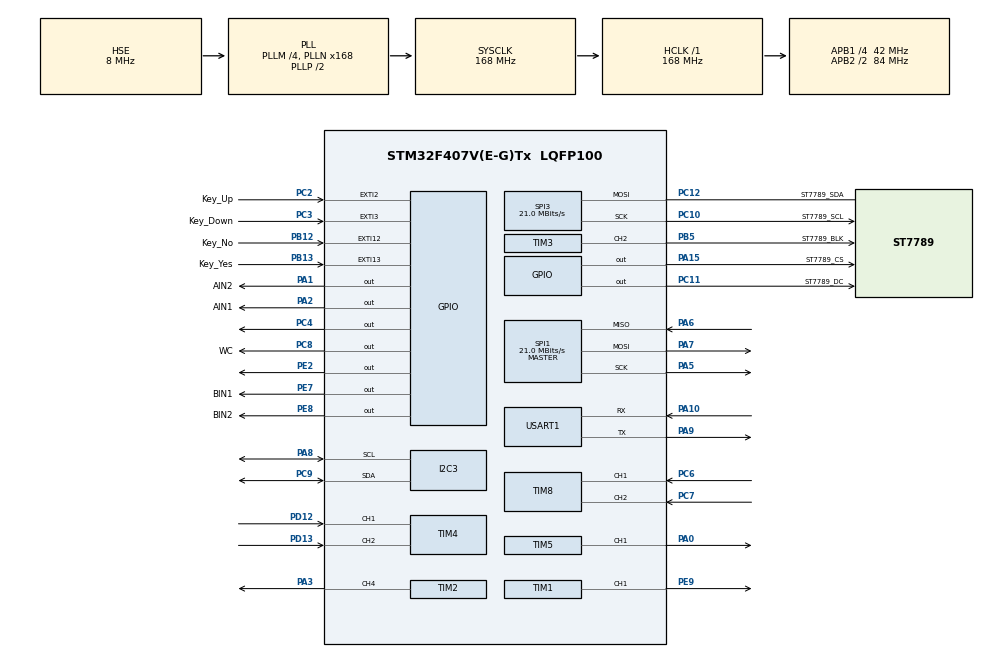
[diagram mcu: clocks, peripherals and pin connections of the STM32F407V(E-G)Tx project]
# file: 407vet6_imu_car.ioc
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Dma.Request0=TIM2_CH2/CH4
Dma.Request1=USART1_TX
Dma.TIM2_CH2/CH4.0.Direction=DMA_MEMORY_TO_PERIPH
Dma.TIM2_CH2/CH4.0.FIFOMode=DMA_FIFOMODE_DISABLE
Dma.TIM2_CH2/CH4.0.Instance=DMA1_Stream6
Dma.TIM2_CH2/CH4.0.MemDataAlignment=DMA_MDATAALIGN_WORD
Dma.TIM2_CH2/CH4.0.MemInc=DMA_MINC_ENABLE
Dma.TIM2_CH2/CH4.0.Mode=DMA_CIRCULAR
Dma.TIM2_CH2/CH4.0.PeriphDataAlignment=DMA_PDATAALIGN_WORD
Dma.TIM2_CH2/CH4.0.PeriphInc=DMA_PINC_DISABLE
Dma.TIM2_CH2/CH4.0.Priority=DMA_PRIORITY_LOW
Dma.USART1_TX.1.Direction=DMA_MEMORY_TO_PERIPH
Dma.USART1_TX.1.FIFOMode=DMA_FIFOMODE_DISABLE
Dma.USART1_TX.1.Instance=DMA2_Stream7
Dma.USART1_TX.1.MemDataAlignment=DMA_MDATAALIGN_BYTE
Dma.USART1_TX.1.MemInc=DMA_MINC_ENABLE
Dma.USART1_TX.1.Mode=DMA_CIRCULAR
Dma.USART1_TX.1.PeriphDataAlignment=DMA_PDATAALIGN_BYTE
Dma.USART1_TX.1.PeriphInc=DMA_PINC_DISABLE
Dma.USART1_TX.1.Priority=DMA_PRIORITY_LOW
Mcu.Family=STM32F4
Mcu.Name=STM32F407V(E-G)Tx
Mcu.Package=LQFP100
NVIC.DMA1_Stream6_IRQn=true\:1\:0\:true\:false\:true\:false\:true\:true
NVIC.DMA2_Stream7_IRQn=true\:0\:0\:false\:false\:true\:false\:true\:true
NVIC.EXTI15_10_IRQn=true\:1\:0\:true\:false\:true\:true\:true\:true
NVIC.EXTI2_IRQn=true\:1\:0\:true\:false\:true\:true\:true\:true
NVIC.EXTI3_IRQn=true\:1\:0\:true\:false\:true\:true\:true\:true
NVIC.PriorityGroup=NVIC_PRIORITYGROUP_4
NVIC.TIM1_BRK_TIM9_IRQn=true\:1\:0\:true\:false\:true\:true\:true\:true
NVIC.TIM1_TRG_COM_TIM11_IRQn=true\:0\:0\:true\:false\:true\:true\:true\:true
NVIC.TIM1_UP_TIM10_IRQn=true\:1\:0\:true\:false\:true\:true\:true\:true
NVIC.TIM2_IRQn=true\:1\:0\:true\:false\:true\:true\:true\:true
NVIC.TIM3_IRQn=true\:1\:0\:true\:false\:true\:true\:true\:true
NVIC.TIM6_DAC_IRQn=true\:0\:0\:false\:false\:true\:true\:true\:true
PA0-WKUP.Signal=S_TIM5_CH1
PA1.GPIO_Label=AIN2
PA1.Signal=GPIO_Output
PA10.Mode=Asynchronous
PA10.Signal=USART1_RX
PA13.Mode=Serial_Wire
PA13.Signal=SYS_JTMS-SWDIO
PA14.Mode=Serial_Wire
PA14.Signal=SYS_JTCK-SWCLK
PA15.GPIO_Label=ST7789_CS
PA15.Signal=GPIO_Output
PA2.GPIO_Label=AIN1
PA2.Signal=GPIO_Output
PA3.Signal=S_TIM2_CH4
PA5.Mode=Full_Duplex_Master
PA5.Signal=SPI1_SCK
PA6.Mode=Full_Duplex_Master
PA6.Signal=SPI1_MISO
PA7.Mode=Full_Duplex_Master
PA7.Signal=SPI1_MOSI
PA8.GPIO_Pu=GPIO_PULLUP
PA8.Mode=I2C
PA8.Signal=I2C3_SCL
PA9.Mode=Asynchronous
PA9.Signal=USART1_TX
PB12.GPIO_Label=Key_No
PB12.GPIO_ModeDefaultEXTI=GPIO_MODE_IT_FALLING
PB12.GPIO_PuPd=GPIO_PULLUP
PB12.Signal=GPXTI12
PB13.GPIO_Label=Key_Yes
PB13.GPIO_ModeDefaultEXTI=GPIO_MODE_IT_FALLING
PB13.GPIO_PuPd=GPIO_PULLUP
PB13.Signal=GPXTI13
PB5.GPIO_Label=ST7789_BLK
PB5.Signal=S_TIM3_CH2
PC10.GPIO_Label=ST7789_SCL
PC10.Mode=Simplex_Bidirectional_Master
PC10.Signal=SPI3_SCK
PC11.GPIO_Label=ST7789_DC
PC11.Signal=GPIO_Output
PC12.GPIO_Label=ST7789_SDA
PC12.Mode=Simplex_Bidirectional_Master
PC12.Signal=SPI3_MOSI
PC2.GPIO_Label=Key_Up
PC2.GPIO_ModeDefaultEXTI=GPIO_MODE_IT_FALLING
PC2.GPIO_PuPd=GPIO_PULLUP
PC2.Signal=GPXTI2
PC3.GPIO_Label=Key_Down
PC3.GPIO_ModeDefaultEXTI=GPIO_MODE_IT_FALLING
PC3.GPIO_PuPd=GPIO_PULLUP
PC3.Signal=GPXTI3
PC4.Signal=GPIO_Output
PC6.Signal=S_TIM8_CH1
PC7.Signal=S_TIM8_CH2
PC8.GPIO_Label=WC
PC8.PinState=GPIO_PIN_RESET
PC8.Signal=GPIO_Output
PC9.GPIO_Pu=GPIO_PULLUP
PC9.Mode=I2C
PC9.Signal=I2C3_SDA
PD12.Signal=S_TIM4_CH1
PD13.Signal=S_TIM4_CH2
PE2.GPIO_ModeDefaultOutputPP=GPIO_MODE_OUTPUT_OD
PE2.GPIO_PuPd=GPIO_NOPULL
PE2.PinState=GPIO_PIN_SET
PE2.Signal=GPIO_Output
PE7.GPIO_Label=BIN1
PE7.Signal=GPIO_Output
PE8.GPIO_Label=BIN2
PE8.Signal=GPIO_Output
PE9.Signal=S_TIM1_CH1
PH0-OSC_IN.Mode=HSE-External-Oscillator
PH0-OSC_IN.Signal=RCC_OSC_IN
PH1-OSC_OUT.Mode=HSE-External-Oscillator
PH1-OSC_OUT.Signal=RCC_OSC_OUT
ProjectManager.HeapSize=0x200
ProjectManager.StackSize=0x1000
ProjectManager.TargetToolchain=MDK-ARM V5.32
RCC.48MHZClocksFreq_Value=84000000
RCC.AHBFreq_Value=168000000
RCC.APB1CLKDivider=RCC_HCLK_DIV4
RCC.APB1Freq_Value=42000000
RCC.APB1TimFreq_Value=84000000
RCC.APB2CLKDivider=RCC_HCLK_DIV2
RCC.APB2Freq_Value=84000000
RCC.APB2TimFreq_Value=168000000
RCC.CortexFreq_Value=168000000
RCC.HCLKFreq_Value=168000000
RCC.HSE_VALUE=8000000
RCC.HSI_VALUE=16000000
RCC.LSE_VALUE=32768
RCC.PLLM=4
RCC.PLLN=168
RCC.PLLSourceVirtual=RCC_PLLSOURCE_HSE
RCC.SYSCLKFreq_VALUE=168000000
RCC.SYSCLKSource=RCC_SYSCLKSOURCE_PLLCLK
RCC.VCOOutputFreq_Value=336000000
SH.S_TIM1_CH1.0=TIM1_CH1,PWM Generation1 CH1
SH.S_TIM2_CH4.0=TIM2_CH4,PWM Generation4 CH4
SH.S_TIM3_CH2.0=TIM3_CH2,PWM Generation2 CH2
SH.S_TIM4_CH1.0=TIM4_CH1,Encoder_Interface
SH.S_TIM4_CH2.0=TIM4_CH2,Encoder_Interface
SH.S_TIM5_CH1.0=TIM5_CH1,PWM Generation1 CH1
SH.S_TIM8_CH1.0=TIM8_CH1,Encoder_Interface
SH.S_TIM8_CH2.0=TIM8_CH2,Encoder_Interface
SPI1.BaudRatePrescaler=SPI_BAUDRATEPRESCALER_4
SPI1.CLKPhase=SPI_PHASE_2EDGE
SPI1.CLKPolarity=SPI_POLARITY_HIGH
SPI1.CalculateBaudRate=21.0 MBits/s
SPI1.DataSize=SPI_DATASIZE_8BIT
SPI1.Direction=SPI_DIRECTION_2LINES
SPI1.Mode=SPI_MODE_MASTER
SPI1.VirtualType=VM_MASTER
SPI3.BaudRatePrescaler=SPI_BAUDRATEPRESCALER_2
SPI3.CLKPhase=SPI_PHASE_1EDGE
SPI3.CLKPolarity=SPI_POLARITY_LOW
SPI3.CalculateBaudRate=21.0 MBits/s
SPI3.Direction=SPI_DIRECTION_1LINE
SPI3.Mode=SPI_MODE_MASTER
SPI3.VirtualType=VM_MASTER
TIM1.Channel-PWM\ Generation1\ CH1=TIM_CHANNEL_1
TIM1.OCMode_PWM-PWM\ Generation1\ CH1=TIM_OCMODE_PWM2
TIM1.Period=999
TIM1.Prescaler=83
TIM10.AutoReloadPreload=TIM_AUTORELOAD_PRELOAD_ENABLE
TIM10.Period=999
TIM10.Prescaler=839
TIM11.Period=99
TIM11.Prescaler=8399
TIM2.AutoReloadPreload=TIM_AUTORELOAD_PRELOAD_ENABLE
TIM2.Channel-PWM\ Generation4\ CH4=TIM_CHANNEL_4
TIM2.OCFastMode_PWM-PWM\ Generation4\ CH4=TIM_OCFAST_ENABLE
TIM2.Period=104
TIM3.AutoReloadPreload=TIM_AUTORELOAD_PRELOAD_ENABLE
TIM3.Channel-PWM\ Generation2\ CH2=TIM_CHANNEL_2
TIM3.Period=99
TIM3.Prescaler=83
TIM4.CounterMode=TIM_COUNTERMODE_UP
TIM4.EncoderMode=TIM_ENCODERMODE_TI1
TIM4.IC2Polarity=TIM_ICPOLARITY_RISING
TIM5.Channel-PWM\ Generation1\ CH1=TIM_CHANNEL_1
TIM5.OCMode_PWM-PWM\ Generation1\ CH1=TIM_OCMODE_PWM2
TIM5.Period=999
TIM5.Prescaler=83
TIM6.Period=99
TIM6.Prescaler=8399
TIM9.AutoReloadPreload=TIM_AUTORELOAD_PRELOAD_ENABLE
TIM9.Period=199
TIM9.Prescaler=8399
USART1.VirtualMode=VM_ASYNC
VP_TIM10_VS_ClockSourceINT.Mode=Enable_Timer
VP_TIM11_VS_ClockSourceINT.Mode=Enable_Timer
VP_TIM1_VS_ClockSourceINT.Mode=Internal
VP_TIM2_VS_ClockSourceINT.Mode=Internal
VP_TIM3_VS_ClockSourceINT.Mode=Internal
VP_TIM5_VS_ClockSourceINT.Mode=Internal
VP_TIM6_VS_ClockSourceINT.Mode=Enable_Timer
VP_TIM9_VS_ClockSourceINT.Mode=Internal
board=custom

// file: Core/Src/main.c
/* USER CODE BEGIN Header */
/**
  ******************************************************************************
  * @file           : main.c
  * @brief          : Main program body
  ******************************************************************************
  * @attention
  *
  * Copyright (c) 2025 STMicroelectronics.
  * All rights reserved.
  *
  * This software is licensed under terms that can be found in the LICENSE file
  * in the root directory of this software component.
  * If no LICENSE file comes with this software, it is provided AS-IS.
  *
  ******************************************************************************
  */
/* USER CODE END Header */
#include "main.h"
#include "dma.h"
#include "i2c.h"
#include "spi.h"
#include "tim.h"
#include "usart.h"
#include "gpio.h"

/* USER CODE BEGIN Includes */
#include "ws2812.h"
#include "lcd.h "
#include "lcd_init.h "
#include "tb6612.h"
#include "ICM42688.h"
#include "M24_EEPROM.h"
#include "UI.h"
#include "stdio.h"
/* USER CODE END Includes */

/* USER CODE BEGIN PM */
int i=0;
float ang_array[1000];
/* USER CODE END PM */

/* USER CODE BEGIN PV */

//printf的重定向

//void HAL_UART_TxCpltCallback(UART_HandleTypeDef *huart)
//{
//    if(huart == &huart1)
//    {
//			if(dif_l>10)sprintf((char*)buffer,"0%ld\n",dif_l);
//			if(dif_l<10&&dif_l>0)sprintf((char*)buffer,"00%ld\n",dif_l);
//			HAL_UART_Transmit_DMA(&huart1,buffer,4);
//    }
//}
int fputc(int ch, FILE *f)
{
	while((USART1->SR&0X40)==0);//循环发送,直到发送完毕
    USART1->DR = (u8) ch;
	return ch;
}
/* USER CODE END PV */

void SystemClock_Config(void);

/* USER CODE BEGIN 0 */

/*****************************************************************************/
//以下是手动运行的函数体
void Run_manual(void)
{
	if (Run_flag == 1)
	{
		uint8_t Speed1[4] = {0};
		uint8_t Speed2[4] = {0};
		uint8_t Status1[4] = {0};
		uint8_t Status2[4] = {0};
		EEPROM_ReadMultipleBytes(MOTOR1_SPEED, Speed1, 4);
		EEPROM_ReadMultipleBytes(MOTOR2_SPEED, Speed2, 4);
		EEPROM_ReadMultipleBytes(MOTOR1_STATUS, Status1, 4);
		EEPROM_ReadMultipleBytes(MOTOR2_STATUS, Status2, 4);

		while (Run_flag)
		{
			if (Status1[3] == 1 && Status2[3] == 0)
			{
				Motor_Start(L);
				Motor_RealSpeed(Speed1[3], L);
			}
			else if (Status1[3] == 1 && Status2[3] == 1)
			{
				Motor_Start(Both);
				Motor_RealSpeed(Speed1[3], L);
				Motor_RealSpeed(Speed2[3], R);
			}
			else if (Status1[3] == 0 && Status2[3] == 1)
			{
				Motor_Start(R);
				Motor_RealSpeed(Speed2[3], R);
			}
			else
			{
				HAL_Delay(1500);
				Failed();
				Run_flag = 0;
				return;
			}
		}
	}
}

/*****************************************************************************/
//以下是第一问的执行函数体
void Run_Auto_1(void)
{
	if (Run_flag == 2)
	{
		float i=0;
		float now_angle=Angle_Data.yaw;
		int turn=0;
		Motor_Start(Both);
		while(1)
		{
			Motor_Distance(now_angle,58.5,9760);
			if(PID_D.Ek<10)
			{
				PID_D.Ek=0;
				PID_D.Ek1=0;
				PID_D.LocSum=0;
				accu_l=0;
				accu_r=0;
				now_angle=Angle_Data.yaw;
				turn++;
				i+=0.6;
				if(i>1)i=1;
			}
			if(turn==6)break;
		}

//  这一段多了
//					while(1)
//			{
//				Motor_Distance(7050,10500);
//				if(PID_D.Ek<10)
//				{
//					accu_l=0;
//					accu_r=0;
//					PID_D.Ek=0;
//					PID_D.Ek1=0;
//					PID_D.LocSum=0;
//					break;
//				}
//			}

			Motor_Off(Both);  //关电机
			//声光提示
			WS2812_Set_Color(255, 255, 255);  ///光
			HAL_GPIO_WritePin(GPIOE, GPIO_PIN_2, GPIO_PIN_RESET);  //声
			HAL_Delay(200);
			HAL_GPIO_WritePin(GPIOE, GPIO_PIN_2, GPIO_PIN_SET);
			HAL_Delay(400);
			Run_flag = 0;  //flag复位
			WS2812_Set_Color(0,0,0);  ///光
			Success();

		}
}
/*****************************************************************************/
//以下是第二问的执行函数体
void Run_Auto_2(void)
{
	if (Run_flag == 3)
	{
		float i=0;
		float now_angle=Angle_Data.yaw;
		int turn=0;
		Motor_Start(Both);
			while(1)
		{
			Motor_Distance(now_angle,58.0,9700);
			if(PID_D.Ek<10)
			{
				PID_D.Ek=0;
				PID_D.Ek1=0;
				PID_D.LocSum=0;
				accu_l=0;
				accu_r=0;
				now_angle=Angle_Data.yaw;
				i+=0.5;
				turn++;
			}
			if(turn==2)
			{
				i=0;
				turn=0;
				break;
			}
		}
			while(1)
		{
			Motor_Distance(now_angle,118.2,9775);
			if(PID_D.Ek<10)
			{
				PID_D.Ek=0;
				PID_D.Ek1=0;
				PID_D.LocSum=0;
				accu_l=0;
				accu_r=0;
				now_angle=Angle_Data.yaw;
				break;
			}
		}
		Motor_Off(Both);
		WS2812_Set_Color(255, 255, 255);  ///光
		HAL_GPIO_WritePin(GPIOE, GPIO_PIN_2, GPIO_PIN_RESET);  //声
		HAL_Delay(200);
		HAL_GPIO_WritePin(GPIOE, GPIO_PIN_2, GPIO_PIN_SET);

		HAL_Delay(400);
		Motor_Start(Both);
		accu_l=0;
		accu_r=0;
		now_angle=Angle_Data.yaw;
		WS2812_Set_Color(0, 0, 0);  //光
		while(1)
		{
			Motor_Distance(now_angle,0,9825);
			if(PID_D.Ek<10)
			{
				PID_D.Ek=0;
				PID_D.Ek1=0;
				PID_D.LocSum=0;
				accu_l=0;
				accu_r=0;
				now_angle=Angle_Data.yaw;
				break;
			}
		}
		while(1)
		{
			Motor_Distance(now_angle,-117.5,9700);
			if(PID_D.Ek<10)
			{
				PID_D.Ek=0;
				PID_D.Ek1=0;
				PID_D.LocSum=0;
				accu_l=0;
				accu_r=0;
				now_angle=Angle_Data.yaw;
				i+=0.5;
				break;
			}
		}
		while(1)
		{
			Motor_Distance(now_angle,-59.0,9700);
			if(PID_D.Ek<10)
			{
				PID_D.Ek=0;
				PID_D.Ek1=0;
				PID_D.LocSum=0;
				accu_l=0;
				accu_r=0;
				now_angle=Angle_Data.yaw;
				i+=0.5;
				if(i>1.4)i=1.4;
				break;
			}
		}
		while(1)
		{
			Motor_Distance(now_angle,-113.5,9757);
			if(PID_D.Ek<10)
			{
				PID_D.Ek=0;
				PID_D.Ek1=0;
				PID_D.LocSum=0;
				accu_l=0;
				accu_r=0;
				now_angle=Angle_Data.yaw;
				i+=0.5;
				if(i>1.4)i=1.4;
				break;
			}
		}
		Motor_Off(Both);
		WS2812_Set_Color(255, 255, 255);  ///光
		HAL_GPIO_WritePin(GPIOE, GPIO_PIN_2, GPIO_PIN_RESET);  //声
		HAL_Delay(200);
		HAL_GPIO_WritePin(GPIOE, GPIO_PIN_2, GPIO_PIN_SET);
		HAL_Delay(400);

		Motor_Start(Both);
		accu_l=0;
		accu_r=0;
		now_angle=Angle_Data.yaw;
		WS2812_Set_Color(0,0,0);  ///光
		while(1)
		{
			Motor_Distance(now_angle,0,9708);
			if(PID_D.Ek<10)
			{
				PID_D.Ek=0;
				PID_D.Ek1=0;
				PID_D.LocSum=0;
				accu_l=0;
				accu_r=0;
				now_angle=Angle_Data.yaw;
				i+=0.5;
				if(i>1.4)i=1.4;
				break;
			}
		}

		Motor_Off(Both);  //关电机
		Run_flag = 0;  //flag复位
		Success();
	}
}
/*****************************************************************************/
//以下是第三问的执行函数体
void Run_Auto_3(void)
{
	if (Run_flag == 4)
	{
		float i=0;
		float now_angle=Angle_Data.yaw;
		int turn=0;
		float First_angle = 0.0;

		//先读一下是哪个点 ## 0-5分别对应ABCDEF
		uint8_t Target[4] = {0};
		EEPROM_ReadMultipleBytes(TARGET_POINT, Target, 4);
		if (Target[3] == 0)  //A点
		{
			First_angle = 0;
		}
		if (Target[3] == 1)  //B点
		{
			First_angle = 60;
		}
		if (Target[3] == 2)  //C点
		{
			First_angle = 117.5;
		}
		if (Target[3] == 3)  //D点
		{
			First_angle = 178;
		}
		if (Target[3] == 4)  //E点
		{
			First_angle = -117.5;
		}
		if (Target[3] == 5)  //F点
		{
			First_angle = -60                                               ;
		}

		Motor_Start(Both);  //启动电机

		while (1)  //先转到那个点
		{
			Motor_Distance(now_angle,First_angle,9760);
			if(PID_D.Ek<10)
			{
				PID_D.Ek=0;
				PID_D.Ek1=0;
				PID_D.LocSum=0;
				accu_l=0;
				accu_r=0;
				now_angle=Angle_Data.yaw;
				break;
			}
		}

		while(1)  //再走接下来的两个角
		{
			Motor_Distance(now_angle,117.5,9760);
			if(PID_D.Ek<10)
			{
				PID_D.Ek=0;
				PID_D.Ek1=0;
				PID_D.LocSum=0;
				accu_l=0;
				accu_r=0;
				now_angle=Angle_Data.yaw;
				turn++;
				i+=0.6;
				if(i>1)i=1;
			}
			if(turn==2)break;
		}

			Motor_Off(Both);  //关电机
			//声光提示
			WS2812_Set_Color(255, 255, 255);  ///光
			HAL_GPIO_WritePin(GPIOE, GPIO_PIN_2, GPIO_PIN_RESET);  //声
			HAL_Delay(200);
			HAL_GPIO_WritePin(GPIOE, GPIO_PIN_2, GPIO_PIN_SET);
			HAL_Delay(400);
			Run_flag = 0;  //flag复位
			WS2812_Set_Color(0,0,0);  ///光
			Success();
		}
}
void Trance_mode(uint8_t Key_val)
{
	if(Key_val == KEY_UP_PRESS)
	{
		stage=1;
		LCD_Fill(0,0,80,20,BLACK);
		LCD_ShowString(0,0,"start",WHITE,BLACK,16,0);
		HAL_TIM_Base_Start_IT(&htim6);
		Key_val=0x00;
	}
	if(Key_val == KEY_DOWN_PRESS)
	{
		stage=2;
		LCD_Fill(0,0,80,20,BLACK);
		LCD_ShowString(0,20,"run start",WHITE,BLACK,16,0);
		HAL_TIM_Base_Start_IT(&htim6);
		while(stage!=0)
		{
			Motor_RealSpeed(set_l*10,L);
			Motor_RealSpeed(set_r*10,R);
		}
		LCD_Fill(0,0,80,20,BLACK);
		LCD_ShowString(0,20,"run over",WHITE,BLACK,16,0);
		Key_val=0x00;
	}
}
/* USER CODE END 0 */

int main(void)
{

  /* MCU Configuration--------------------------------------------------------*/

  /* Reset of all peripherals, Initializes the Flash interface and the Systick. */
  HAL_Init();

  /* Configure the system clock */
  SystemClock_Config();

  /* Initialize all configured peripherals */
  MX_GPIO_Init();
  MX_DMA_Init();
  MX_I2C3_Init();
  MX_SPI1_Init();
  MX_SPI3_Init();
  MX_TIM2_Init();
  MX_USART1_UART_Init();
  MX_TIM1_Init();
  MX_TIM4_Init();
  MX_TIM5_Init();
  MX_TIM8_Init();
  MX_TIM3_Init();
  MX_TIM9_Init();
  MX_TIM11_Init();
  MX_TIM10_Init();
  MX_TIM6_Init();
  /* USER CODE BEGIN 2 */

	/* 外设初始化 */
	LCD_Init();  //LCD_Init

	LCD_Fill(0,0,LCD_W,LCD_H,BLACK);  //提示
	LCD_ShowString(0, 0, (uint8_t*)"IMU init, don't move", WHITE, BLACK, 24, 1);
	LCD_ShowString(0, 30, (uint8_t*)"the car", WHITE, BLACK, 24, 1);

	icm42688_init ();  //IMU 初始化

	IMU_Calibration();  //IMU零漂校准，上电时不要移动小车，不然会一直卡在这里

	WS2812_Init();  //WS2812 Init

	HAL_TIM_Encoder_Start(&htim4, TIM_CHANNEL_ALL);  //编码器初始化
	HAL_TIM_Encoder_Start(&htim8, TIM_CHANNEL_ALL);

//	if (M24C02_Check()) Error_Handler();  //EEPROM初始化

//	LCD_Fill(0,0,LCD_W,LCD_H,0xFFFE);  //填充主菜单背景，这里的0xfffe是特殊标志
//	LCD_Fill(0, 0, 240, 50, GRAYBLUE);  //第一次打印标题框

	HAL_TIM_Base_Start_IT(&htim11);  //开启编码器计速定时器
	HAL_TIM_Base_Start_IT(&htim2);  //开启2812定时器
	Motor_Start(Both);
	LCD_Fill(0,0,LCD_W,LCD_H,BLACK);
// 	DispCrtMenu();  //第一次打印ui

	int com_l=0,last_com_l=0,com_r=0,last_com_r=0;
	long d_l=0,d_r=0;

  /* USER CODE END 2 */

  /* Infinite loop */
  /* USER CODE BEGIN WHILE */

//	accu_l=0;
//	accu_r=0;
//	float i=0;
//	float now_angle=Angle_Data.yaw;
//	int turn=0;
//	Motor_Start(Both);

while (1)
{
		if(Key_val == KEY_UP_PRESS)
		{
			i=0;
			LCD_Fill(0,0,80,20,BLACK);
			LCD_ShowString(0,0,(uint8_t*)"start",WHITE,BLACK,16,0);
			__HAL_TIM_SET_COUNTER(&htim4,65535);
			__HAL_TIM_SET_COUNTER(&htim8,0);
			while(i<1000)
			{
				com_l=__HAL_TIM_GET_COUNTER(&htim4);//左
				com_r=__HAL_TIM_GET_COUNTER(&htim8);//右
				d_l=65535-com_l;
				d_r=com_r;
				if(d_r>60000)d_r=-d_r+65535;
				if(d_r+d_l>=30*i)
				{
					ang_array[i]=Angle_Data.yaw;
					HAL_Delay(1);
					i++;
				}
			}
			Key_val=0x00;
			LCD_Fill(0,0,80,20,BLACK);
			LCD_ShowString(0,0,(uint8_t*)"over",WHITE,BLACK,16,0);
			d_l=0,d_r=0;
		}
		if(Key_val == KEY_DOWN_PRESS)
		{
			LCD_Fill(0,0,80,20,BLACK);
			LCD_ShowString(0,0,(uint8_t*)"run start",WHITE,BLACK,16,0);
			__HAL_TIM_SET_COUNTER(&htim4,65535);
			__HAL_TIM_SET_COUNTER(&htim8,0);
			i=0;
			float nw_ang=Angle_Data.yaw;
			while(i<1000)
			{
				if(i==0)Motor_KeepAngle(nw_ang,0,70);
				else Motor_KeepAngle(ang_array[i-1]+nw_ang,ang_array[i]-ang_array[i-1],80);
				com_l=__HAL_TIM_GET_COUNTER(&htim4);//左
				com_r=__HAL_TIM_GET_COUNTER(&htim8);//右
				d_l=65535-com_l;
				d_r=com_r;
				if(d_r+d_l>30*i)
				{
					i++;
					HAL_Delay(1);
				}
			}
			Motor_SetSpeed(0,0,L);
			Motor_SetSpeed(0,0,R);
			LCD_Fill(0,0,80,20,BLACK);
			LCD_ShowString(0,0,(uint8_t*)"run over",WHITE,BLACK,16,0);
			HAL_GPIO_WritePin(AIN1_GPIO_Port,AIN1_Pin,GPIO_PIN_RESET);
			HAL_GPIO_WritePin(AIN2_GPIO_Port,AIN2_Pin,GPIO_PIN_RESET);
			HAL_GPIO_WritePin(BIN1_GPIO_Port,BIN1_Pin,GPIO_PIN_RESET);
			HAL_GPIO_WritePin(BIN2_GPIO_Port,BIN2_Pin,GPIO_PIN_RESET);
			Key_val=0x00;
			d_l=0,d_r=0;
		}
//		//手动运行函数
//		Run_manual();
//
//		//自动运行函数
//		Run_Auto_1();
//
//		//自动运行函数二
//		Run_Auto_2();
//
//		//自动运行函数三
//		Run_Auto_3();
    /* USER CODE END WHILE */

  }
}

void SystemClock_Config(void)
{
  RCC_OscInitTypeDef RCC_OscInitStruct = {0};
  RCC_ClkInitTypeDef RCC_ClkInitStruct = {0};

  /** Configure the main internal regulator output voltage
  */
  __HAL_RCC_PWR_CLK_ENABLE();
  __HAL_PWR_VOLTAGESCALING_CONFIG(PWR_REGULATOR_VOLTAGE_SCALE1);

  /** Initializes the RCC Oscillators according to the specified parameters
  * in the RCC_OscInitTypeDef structure.
  */
  RCC_OscInitStruct.OscillatorType = RCC_OSCILLATORTYPE_HSE;
  RCC_OscInitStruct.HSEState = RCC_HSE_ON;
  RCC_OscInitStruct.PLL.PLLState = RCC_PLL_ON;
  RCC_OscInitStruct.PLL.PLLSource = RCC_PLLSOURCE_HSE;
  RCC_OscInitStruct.PLL.PLLM = 4;
  RCC_OscInitStruct.PLL.PLLN = 168;
  RCC_OscInitStruct.PLL.PLLP = RCC_PLLP_DIV2;
  RCC_OscInitStruct.PLL.PLLQ = 4;
  if (HAL_RCC_OscConfig(&RCC_OscInitStruct) != HAL_OK)
  {
    Error_Handler();
  }

  /** Initializes the CPU, AHB and APB buses clocks
  */
  RCC_ClkInitStruct.ClockType = RCC_CLOCKTYPE_HCLK|RCC_CLOCKTYPE_SYSCLK
                              |RCC_CLOCKTYPE_PCLK1|RCC_CLOCKTYPE_PCLK2;
  RCC_ClkInitStruct.SYSCLKSource = RCC_SYSCLKSOURCE_PLLCLK;
  RCC_ClkInitStruct.AHBCLKDivider = RCC_SYSCLK_DIV1;
  RCC_ClkInitStruct.APB1CLKDivider = RCC_HCLK_DIV4;
  RCC_ClkInitStruct.APB2CLKDivider = RCC_HCLK_DIV2;

  if (HAL_RCC_ClockConfig(&RCC_ClkInitStruct, FLASH_LATENCY_5) != HAL_OK)
  {
    Error_Handler();
  }
}

void Error_Handler(void)
{
  /* USER CODE BEGIN Error_Handler_Debug */
  /* User can add his own implementation to report the HAL error return state */
  __disable_irq();

	LCD_Init();  //报错提示
	LCD_Fill(0,0,LCD_W,LCD_H,RED);
	LCD_ShowString(0,0,(uint8_t*)"ERROR_HANDLER",WHITE, RED, 32,0);

	while (1)
  {
		;
	}
  /* USER CODE END Error_Handler_Debug */
}
